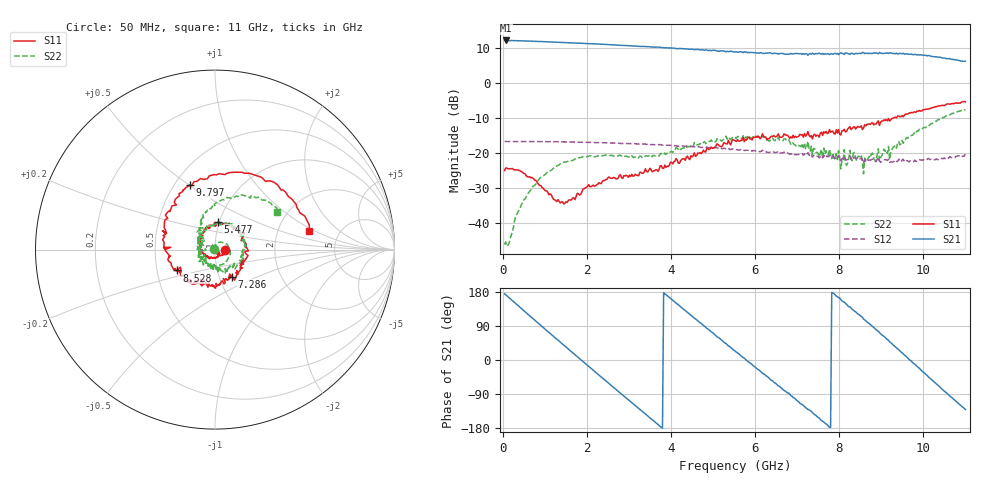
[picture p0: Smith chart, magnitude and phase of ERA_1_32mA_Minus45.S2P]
! Mini-Circuits
! S2P DATA File Format
! Type: MMIC Amplifier
! Model: ERA-1  Reference Data:RDF-960
! Note: All S Parameters are in dB deg format
! TEST CONDITIONS: INPUT POWER = -15dBm, Icc = 32mA, Vd = 3.50V @Temperature = -45degC
# MHz S DB R 50
!  FREQ  dB(S11)  PHS(S11)  dB(S21)  PHS(S21)  dB(S12)  PHS(S12)  dB(S22)  PHS(S22)
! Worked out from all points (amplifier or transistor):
!   401 points, 50 MHz to 11 GHz, reference 50 ohm
!   highest |S21| = 12.1 dB at 77 MHz (marker M1)
!   |S21| within 3 dB of that: start of sweep to 5.093 GHz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
!   unconditionally stable (mu >= 1): start of sweep to end of sweep
!   at 1.832 GHz: K = 1.21, MAG = 11.4 dB, |S12| = -16.9 dB
!   at 5.45 GHz: K = 1.67, MAG = 9.2 dB, |S12| = -18.9 dB
!   at 11 GHz: K = 1.62, MAG = 8.7 dB, |S12| = -20.3 dB
!   S11 on the Smith chart (normalised r, x): 50 MHz: 1.12, -0.01; 5.477 GHz: 0.99, +0.31; 7.286 GHz: 1.15, -0.36; 8.528 GHz: 0.63, -0.16; 9.797 GHz: 0.60, +0.51; 11 GHz: 3.02, +0.88
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50  -25.04 -3.3  12.12 174.6  -16.75 -4.3  -46.22 138.4
77  -24.34 -5.3  12.15 172.1  -16.75 -6.1  -45.44 133.9
536  -25.99 -38.7  12.01 127.4  -16.75 -40.6  -33.17 87.4
941  -29.95 -59.9  11.81 88.3  -16.79 -71.4  -26.72 62.0
1454  -34.61 -37.0  11.55 39.4  -16.86 -110.4  -22.66 24.1
1886  -31.17 -37.7  11.30 -1.6  -16.96 -143.4  -21.23 -11.4
2372  -28.19 -63.9  11.06 -47.3  -17.08 179.6  -20.87 -48.9
2777  -26.43 -87.0  10.77 -85.1  -17.30 148.3  -20.66 -84.9
3182  -26.35 -112.1  10.52 -122.8  -17.43 117.3  -21.31 -123.6
3722  -24.73 -141.3  10.24 -172.7  -17.63 76.3  -20.91 -175.0
4640  -20.07 152.9  9.58 103.4  -18.26 6.3  -17.63 106.0
5477  -16.19 83.4  8.89 27.7  -18.88 -58.3  -15.43 50.0
5531  -16.49 78.9  8.86 23.3  -18.96 -62.5  -15.58 44.3
6503  -15.38 4.0  8.41 -62.6  -19.87 -136.1  -16.12 -18.3
7286  -15.02 -58.2  8.24 -131.6  -20.63 164.3  -18.56 -74.3
7367  -15.99 -58.8  8.52 -139.0  -21.22 159.6  -20.46 -78.0
7988  -13.34 -110.5  8.10 164.5  -20.72 113.8  -19.35 -126.9
8528  -12.28 -151.5  8.40 114.8  -21.47 73.1  -20.54 177.7
9203  -10.91 161.5  8.67 47.6  -22.70 23.1  -21.95 137.2
9797  -8.27 110.9  8.15 -10.7  -22.06 -10.2  -14.25 108.2
10373  -6.57 62.9  7.39 -68.8  -21.70 -50.3  -10.48 74.8
11003  -5.42 11.2  6.23 -130.8  -20.35 -93.6  -7.80 31.4
